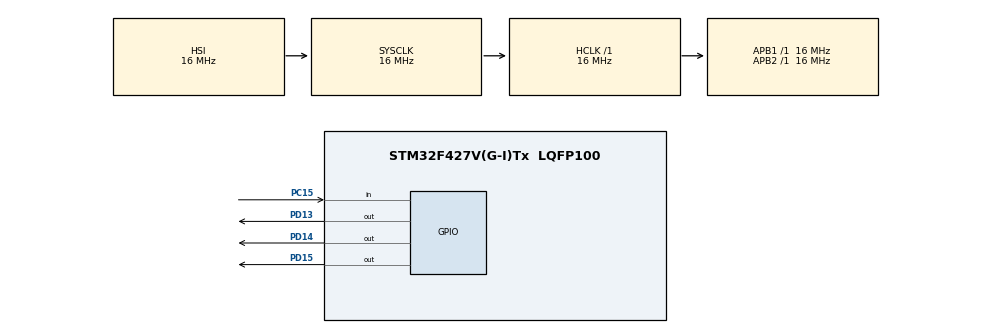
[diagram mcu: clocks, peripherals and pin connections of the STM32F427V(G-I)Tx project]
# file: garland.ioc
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Mcu.Family=STM32F4
Mcu.Name=STM32F427V(G-I)Tx
Mcu.Package=LQFP100
NVIC.PriorityGroup=NVIC_PRIORITYGROUP_4
PA13.Mode=JTAG_5_pins
PA13.Signal=SYS_JTMS-SWDIO
PA14.Mode=JTAG_5_pins
PA14.Signal=SYS_JTCK-SWCLK
PA15.Mode=JTAG_5_pins
PA15.Signal=SYS_JTDI
PB3.Mode=JTAG_5_pins
PB3.Signal=SYS_JTDO-SWO
PB4.Mode=JTAG_5_pins
PB4.Signal=SYS_JTRST
PC15/OSC32_OUT.Signal=GPIO_Input
PD13.Signal=GPIO_Output
PD14.Signal=GPIO_Output
PD15.Signal=GPIO_Output
ProjectManager.HeapSize=0x200
ProjectManager.StackSize=0x400
ProjectManager.TargetToolchain=STM32CubeIDE
RCC.AHBFreq_Value=16000000
RCC.APB1Freq_Value=16000000
RCC.APB2Freq_Value=16000000
RCC.CortexFreq_Value=16000000
RCC.HSE_VALUE=25000000
RCC.HSI_VALUE=16000000
RCC.LSE_VALUE=32768
RCC.SYSCLKFreq_VALUE=16000000
RCC.VCOOutputFreq_Value=192000000
board=custom

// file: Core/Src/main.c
/* USER CODE BEGIN Header */
/**
  ******************************************************************************
  * @file           : main.c
  * @brief          : Main program body
  ******************************************************************************
  * @attention
  *
  * Copyright (c) 2025 STMicroelectronics.
  * All rights reserved.
  *
  * This software is licensed under terms that can be found in the LICENSE file
  * in the root directory of this software component.
  * If no LICENSE file comes with this software, it is provided AS-IS.
  *
  ******************************************************************************
  */
/* USER CODE END Header */
#include "main.h"

/* USER CODE BEGIN Includes */
#include "stm32f4xx_hal.h"
#include "led_driver.h"
#include "button_driver.h"
/* USER CODE END Includes */

/* USER CODE BEGIN PTD */
/* --- параметры режимов гирлянды --- */
typedef struct {
    uint32_t period_ms;    // шаг обновления
    uint8_t  leds_sequence[8]; // up to 8 steps (bitmask 0..7 as in LED_SetMask)
    uint8_t  seq_len;
} mode_t;
/* USER CODE END PTD */

/* USER CODE BEGIN PD */
#define MODES_COUNT 4
/* USER CODE END PD */

void SystemClock_Config(void);
static void MX_GPIO_Init(void);

/* USER CODE BEGIN 0 */
static mode_t modes[MODES_COUNT] = {
    // режим 0: попеременно зелёный / красный
    { 500, {0x1, 0x2}, 2 },
    // режим 1: оба (green+yellow) мигают вместе
    { 500, {0x1|0x4, 0x0}, 2 },
    // режим 2: бегущий огонек PD13->PD14->PD15
    { 200, {0x1,0x2,0x4}, 3 },
    // режим 3: сложная последовательность (разные комбинации)
    { 50, {0x1, 0x1|0x2, 0x2|0x4, 0x4, 0x0}, 5 }
};
/* USER CODE END 0 */

int main(void)
{

  /* MCU Configuration--------------------------------------------------------*/

  /* Reset of all peripherals, Initializes the Flash interface and the Systick. */
  HAL_Init();

  /* Configure the system clock */
  SystemClock_Config();

  /* Initialize all configured peripherals */
  MX_GPIO_Init();
  /* USER CODE BEGIN 2 */

  LED_Init();
  BUTTON_Init();

  uint32_t last_tick = HAL_GetTick();
  uint32_t last_step_time = last_tick;
  int current_mode = 0;
  uint8_t seq_idx[MODES_COUNT] = {0}; // хранит позицию в каждом режиме

  /* USER CODE END 2 */

  /* Infinite loop */
  while (1)
  {

    /* USER CODE BEGIN 3 */
	  // обновляем драйвер опроса кнопки (дребезг и edge)
	  BUTTON_Process();

	  // переключение режима по одному нажатию
	  if(BUTTON_WasPressed()) {
		  current_mode++;
		  if(current_mode >= MODES_COUNT) current_mode = 0;
	  }

	  // обновление шага анимации (неблокирующий)
	  uint32_t now = HAL_GetTick();
	  if((now - last_step_time) >= modes[current_mode].period_ms) {
		  last_step_time = now;
		  // вывести текущий шаг режима
		  uint8_t mask = modes[current_mode].leds_sequence[ seq_idx[current_mode] % modes[current_mode].seq_len ];
		  LED_SetMask(mask);
		  seq_idx[current_mode] = (seq_idx[current_mode] + 1) % modes[current_mode].seq_len;
	  }

	  // основной цикл должен быть "лёгким" — без HAL_Delay
	  // можно здесь выполнить другие процессы / обработку UART и т.п.
  }
  /* USER CODE END 3 */
}

void SystemClock_Config(void)
{
  RCC_OscInitTypeDef RCC_OscInitStruct = {0};
  RCC_ClkInitTypeDef RCC_ClkInitStruct = {0};

  /** Configure the main internal regulator output voltage
  */
  __HAL_RCC_PWR_CLK_ENABLE();
  __HAL_PWR_VOLTAGESCALING_CONFIG(PWR_REGULATOR_VOLTAGE_SCALE3);

  /** Initializes the RCC Oscillators according to the specified parameters
  * in the RCC_OscInitTypeDef structure.
  */
  RCC_OscInitStruct.OscillatorType = RCC_OSCILLATORTYPE_HSI;
  RCC_OscInitStruct.HSIState = RCC_HSI_ON;
  RCC_OscInitStruct.HSICalibrationValue = RCC_HSICALIBRATION_DEFAULT;
  RCC_OscInitStruct.PLL.PLLState = RCC_PLL_NONE;
  if (HAL_RCC_OscConfig(&RCC_OscInitStruct) != HAL_OK)
  {
    Error_Handler();
  }

  /** Initializes the CPU, AHB and APB buses clocks
  */
  RCC_ClkInitStruct.ClockType = RCC_CLOCKTYPE_HCLK|RCC_CLOCKTYPE_SYSCLK
                              |RCC_CLOCKTYPE_PCLK1|RCC_CLOCKTYPE_PCLK2;
  RCC_ClkInitStruct.SYSCLKSource = RCC_SYSCLKSOURCE_HSI;
  RCC_ClkInitStruct.AHBCLKDivider = RCC_SYSCLK_DIV1;
  RCC_ClkInitStruct.APB1CLKDivider = RCC_HCLK_DIV1;
  RCC_ClkInitStruct.APB2CLKDivider = RCC_HCLK_DIV1;

  if (HAL_RCC_ClockConfig(&RCC_ClkInitStruct, FLASH_LATENCY_0) != HAL_OK)
  {
    Error_Handler();
  }
}

static void MX_GPIO_Init(void)
{
  GPIO_InitTypeDef GPIO_InitStruct = {0};

  /* GPIO Ports Clock Enable */
  __HAL_RCC_GPIOC_CLK_ENABLE();
  __HAL_RCC_GPIOD_CLK_ENABLE();
  __HAL_RCC_GPIOA_CLK_ENABLE();
  __HAL_RCC_GPIOB_CLK_ENABLE();

  /*Configure GPIO pin Output Level */
  HAL_GPIO_WritePin(GPIOD, GPIO_PIN_13|GPIO_PIN_14|GPIO_PIN_15, GPIO_PIN_RESET);

  /*Configure GPIO pin : PC15 */
  GPIO_InitStruct.Pin = GPIO_PIN_15;
  GPIO_InitStruct.Mode = GPIO_MODE_INPUT;
  GPIO_InitStruct.Pull = GPIO_NOPULL;
  HAL_GPIO_Init(GPIOC, &GPIO_InitStruct);

  /*Configure GPIO pins : PD13 PD14 PD15 */
  GPIO_InitStruct.Pin = GPIO_PIN_13|GPIO_PIN_14|GPIO_PIN_15;
  GPIO_InitStruct.Mode = GPIO_MODE_OUTPUT_PP;
  GPIO_InitStruct.Pull = GPIO_NOPULL;
  GPIO_InitStruct.Speed = GPIO_SPEED_FREQ_LOW;
  HAL_GPIO_Init(GPIOD, &GPIO_InitStruct);

}

void Error_Handler(void)
{
  __disable_irq();
  while (1)
  {
  }
}
